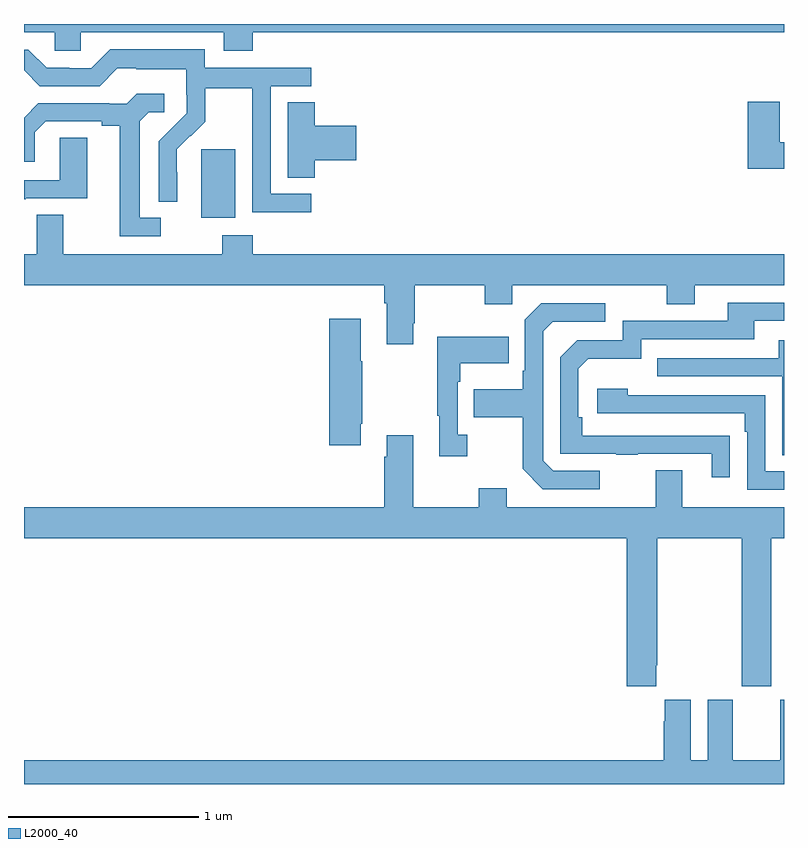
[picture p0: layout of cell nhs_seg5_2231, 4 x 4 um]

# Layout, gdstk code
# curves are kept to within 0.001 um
import gdstk
lib = gdstk.Library(unit=1e-6, precision=1e-09)
def R(c, l, rs):  # rectangles x0, y0, x1, y1
    for r in rs: c.add(gdstk.rectangle(r[:2], r[2:], *l))
def P(c, l, *ps):  # polygons
    for p in ps: c.add(gdstk.Polygon(p, *l))
L2000_40 = (2000, 40)

nhs_seg5_2231 = lib.new_cell('nhs_seg5_2231')
R(nhs_seg5_2231, L2000_40, [(241.934,859.778,242.113,860.139)])
P(nhs_seg5_2231, L2000_40, [(242.204,860.756),(245,860.756),(245,860.799),(241,860.799),(241,860.756),(241.161,860.756),(241.161,860.658),(241.299,860.658),(241.299,860.756),(242.051,860.756),(242.051,860.657),(242.204,860.657)],
  [(242.512,859.905),(242.298,859.905),(242.298,860.472),(242.512,860.472),(242.512,860.568),(241.95,860.568),(241.95,860.665),(241.453,860.665),(241.353,860.565),(241.238,860.565),(241.238,860.568),(241.119,860.568),(241.023,860.664),(241,860.664),(241,860.555),(241.083,860.472),(241.398,860.472),(241.491,860.565),(241.591,860.565),(241.591,860.561),(241.854,860.561),(241.854,860.427),(241.856,860.427),(241.856,860.33),(241.71,860.182),(241.71,859.864),(241.806,859.864),(241.805,860.141),(241.875,860.211),(241.878,860.208),(241.955,860.285),(241.955,860.46),(242.2,860.46),(242.2,860.236),(242.202,860.236),(242.202,859.807),(242.512,859.807)],
  [(241.72,859.779),(241.609,859.779),(241.609,860.287),(241.656,860.334),(241.738,860.334),(241.738,860.431),(241.594,860.431),(241.542,860.379),(241.448,860.379),(241.448,860.382),(241.076,860.382),(241,860.306),(241,860.073),(241.057,860.073),(241.057,860.229),(241.114,860.286),(241.409,860.286),(241.409,860.264),(241.505,860.264),(241.505,859.683),(241.72,859.683)],
  [(245,860.176),(244.978,860.176),(244.978,860.389),(244.808,860.389),(244.808,860.036),(245,860.036)],
  [(242.531,860.081),(242.749,860.081),(242.749,860.264),(242.531,860.264),(242.531,860.387),(242.387,860.387),(242.387,859.99),(242.531,859.99)],
  [(241.009,859.881),(241.333,859.881),(241.333,860.201),(241.188,860.201),(241.188,859.977),(241,859.977),(241,859.877),(241.009,859.877)],
  [(243.049,859.225),(243.057,859.225),(243.057,859.424),(243.424,859.424),(243.424,859.325),(243.57,859.325),(243.57,859.424),(244.384,859.424),(244.384,859.325),(244.531,859.325),(244.531,859.424),(245,859.424),(245,859.588),(242.204,859.588),(242.204,859.687),(242.044,859.687),(242.044,859.588),(241.207,859.588),(241.207,859.796),(241.067,859.796),(241.067,859.588),(241,859.588),(241,859.424),(242.897,859.424),(242.897,859.328),(242.909,859.328),(242.909,859.113),(243.049,859.113)],
  [(244.715,858.632),(243.938,858.633),(243.938,858.73),(243.918,858.73),(243.918,858.984),(243.971,859.037),(244.248,859.037),(244.248,859.14),(244.843,859.14),(244.843,859.236),(245,859.236),(245,859.332),(244.703,859.332),(244.703,859.236),(244.152,859.236),(244.152,859.134),(243.912,859.134),(243.822,859.044),(243.822,858.537),(244.117,858.537),(244.117,858.532),(244.229,858.532),(244.229,858.537),(244.619,858.537),(244.619,858.414),(244.715,858.414)],
  [(244.03,858.447),(243.786,858.447),(243.732,858.501),(243.732,859.182),(243.783,859.233),(244.06,859.233),(244.06,859.329),(243.723,859.329),(243.636,859.242),(243.636,858.973),(243.624,858.973),(243.624,858.877),(243.367,858.877),(243.367,858.73),(243.624,858.73),(243.624,858.457),(243.729,858.351),(244.03,858.351)],
  [(242.773,858.694),(242.781,858.694),(242.781,859.025),(242.773,859.025),(242.773,859.249),(242.606,859.249),(242.606,858.582),(242.773,858.582)],
  [(243.334,858.638),(243.282,858.638),(243.282,858.917),(243.295,858.917),(243.295,859.013),(243.551,859.013),(243.551,859.153),(243.174,859.153),(243.174,858.737),(243.185,858.737),(243.185,858.525),(243.334,858.525)],
  [(245,859.135),(244.973,859.135),(244.973,859.041),(244.333,859.041),(244.333,858.945),(244.992,858.945),(244.992,858.529),(245,858.529)],
  [(245,858.444),(244.902,858.444),(244.902,858.846),(244.178,858.846),(244.178,858.88),(244.017,858.88),(244.017,858.75),(244.793,858.75),(244.793,858.653),(244.806,858.653),(244.806,858.348),(245,858.348)],
  [(244.327,857.425),(244.332,857.425),(244.332,858.092),(244.777,858.092),(244.777,857.313),(244.932,857.313),(244.932,858.092),(245,858.092),(245,858.256),(244.465,858.256),(244.465,858.451),(244.325,858.451),(244.325,858.256),(243.541,858.256),(243.541,858.355),(243.394,858.355),(243.394,858.256),(243.049,858.256),(243.049,858.634),(242.909,858.634),(242.909,858.521),(242.897,858.521),(242.897,858.256),(241,858.256),(241,858.092),(244.172,858.092),(244.172,857.313),(244.327,857.313)],
  [(245,857.242),(244.979,857.242),(244.979,856.924),(244.729,856.924),(244.729,857.242),(244.598,857.242),(244.598,856.924),(244.51,856.924),(244.51,857.242),(244.373,857.242),(244.373,857.129),(244.367,857.129),(244.367,856.924),(241,856.924),(241,856.799),(245,856.799)])

lib.write_gds('nhs_seg5_2231.gds')
